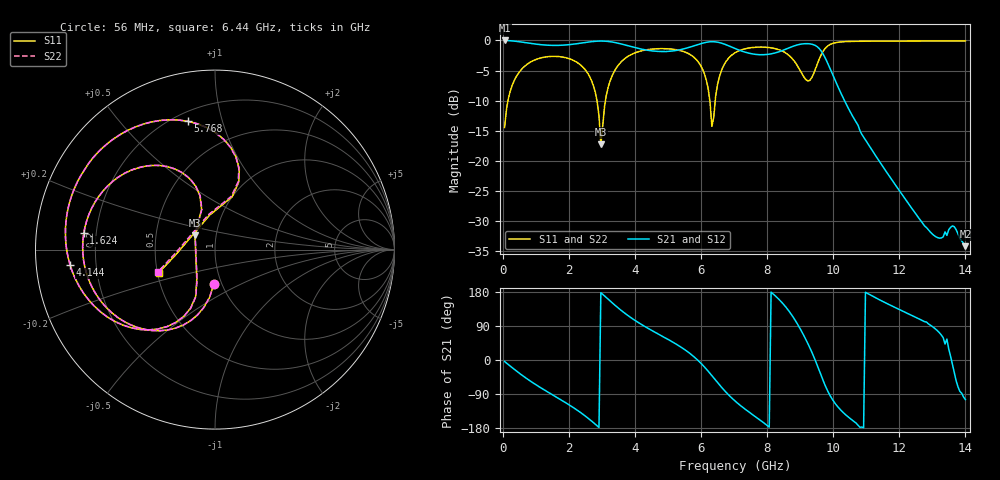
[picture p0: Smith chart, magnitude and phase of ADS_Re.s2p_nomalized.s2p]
! This file was normalized.
! Created Tue Apr 24 14:54:15 2018
! 2 Port Network Data from data block
! freq  reS11  imS11  reS21  imS21  reS12  imS12  reS22  imS22
# Hz S dB R 50
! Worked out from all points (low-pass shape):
!   250 points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, 56 MHz to 14 GHz, reference 50 ohm
!   highest |S21| = -0.01 dB at 56 MHz (marker M1); lowest = -34.1 dB at 14 GHz (marker M2)
!   |S21| within 3 dB of the highest: start of sweep to 9.766 GHz
!   lowest |S11| = -17.2 dB at 2.968 GHz (marker M3), VSWR 1.32, Z = 39.5 + j6.46 ohm
!   |S11| at or under -10 dB: start of sweep to 157.7 MHz; 2.852 GHz to 3.108 GHz (255.6 MHz wide, 8.58 % of centre); 6.267 GHz to 6.43 GHz (162.6 MHz wide, 2.56 % of centre)
!   |S22| runs from -17.3 to -0.1 dB; largest |S21 - S12| = 0
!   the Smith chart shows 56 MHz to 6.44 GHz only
!   S11 on the Smith chart (normalised r, x): 56 MHz: 0.92, -0.36; 1.624 GHz: 0.15, +0.06; 4.144 GHz: 0.10, -0.05; 5.768 GHz: 0.25, +0.78; 6.44 GHz: 0.51, -0.15
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5.6e7  -14.43 -91.5  -0.01 -4.0  -0.01 -4.0  -14.43 -91.5
6.16e8  -4.53 -131.6  -0.31 -42.2  -0.31 -42.2  -4.53 -131.6
1.624e9  -2.65 172.9  -0.83 -98.0  -0.83 -98.0  -2.65 172.9
2.408e9  -4.34 130.1  -0.42 -142.0  -0.42 -142.0  -4.34 130.0
2.968e9  -17.22 144.4  -0.11 177.7  -0.11 177.7  -17.30 143.9
3.36e9  -5.29 -125.6  -0.31 147.1  -0.31 147.1  -5.29 -125.6
4.144e9  -1.81 -173.9  -1.39 96.6  -1.39 96.6  -1.81 -173.9
4.704e9  -1.38 158.7  -1.83 68.6  -1.83 68.6  -1.37 158.7
5.768e9  -2.72 102.0  -0.93 9.9  -0.93 9.9  -2.72 102.0
6.216e9  -8.00 70.6  -0.26 -29.6  -0.26 -29.6  -7.98 71.1
6.328e9  -14.25 99.0  -0.21 -41.2  -0.21 -41.2  -14.06 100.4
6.44e9  -9.36 -157.6  -0.24 -53.1  -0.24 -53.1  -9.35 -158.7
7.056e9  -1.96 158.2  -1.40 -110.2  -1.40 -110.2  -1.96 157.9
7.84e9  -1.11 108.2  -2.38 -162.0  -2.38 -162.0  -1.11 108.0
8.456e9  -1.76 62.7  -1.70 151.0  -1.70 151.0  -1.76 62.3
8.96e9  -4.60 2.3  -0.68 88.7  -0.68 88.7  -4.61 1.6
9.352e9  -6.18 -74.4  -0.63 20.9  -0.63 20.9  -6.18 -75.5
9.632e9  -2.42 -138.1  -1.73 -40.3  -1.73 -40.3  -2.42 -138.6
9.912e9  -0.66 169.0  -4.76 -94.8  -4.76 -94.8  -0.66 168.7
1.0584e10  -0.16 106.8  -12.54 -159.1  -12.54 -159.1  -0.16 106.7
1.1704e10  -0.11 52.4  -22.56 145.7  -22.56 145.7  -0.11 52.2
1.4e10  -0.08 -35.2  -34.12 -104.4  -34.12 -104.4  -0.09 -35.4
